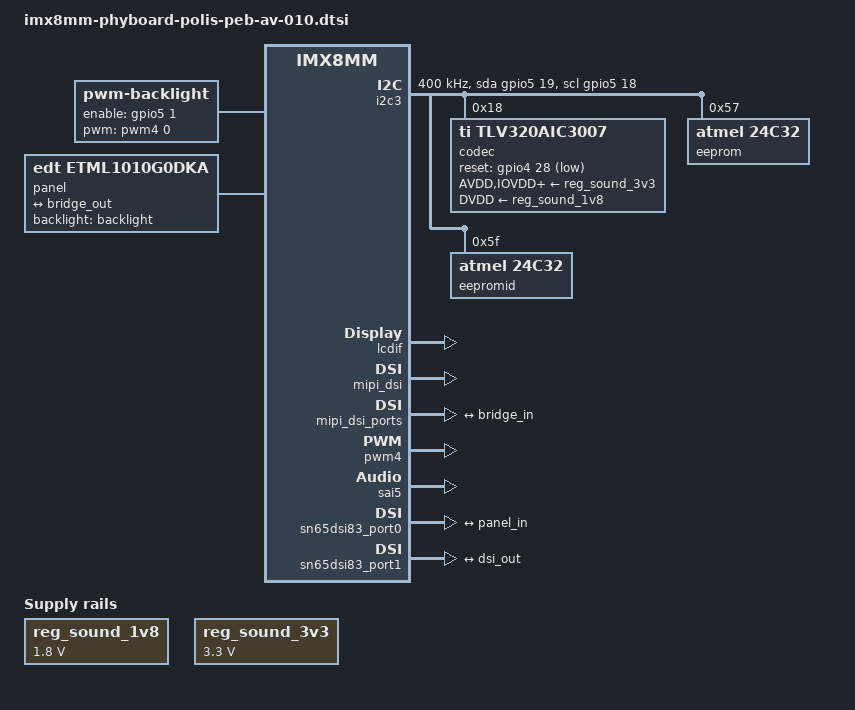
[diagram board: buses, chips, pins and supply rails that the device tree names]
// SPDX-License-Identifier: GPL-2.0
/*
 * Copyright (C) 2019 PHYTEC Messtechnik GmbH
 * Author: Teresa Remmet <t.remmet@phytec.de>
 */

/ {
	backlight: backlight {
		compatible = "pwm-backlight";
		pinctrl-names = "default";
		pinctrl-0 = <&pinctrl_lcd>;
		default-brightness-level = <6>;
		pwms = <&pwm4 0 50000>;
		enable-gpios = <&gpio5 1 GPIO_ACTIVE_HIGH>;
		brightness-levels= <0 4 8 16 32 64 128 255>;
	};

	panel {
		compatible = "edt,etml1010g0dka";
		backlight = <&backlight>;

		port {
			panel_in: endpoint {
				remote-endpoint = <&bridge_out>;
			};
		};
	};

	reg_sound_1v8: regulator-1v8 {
		compatible = "regulator-fixed";
		regulator-name = "VCC-1V8-Audio";
		regulator-min-microvolt = <1800000>;
		regulator-max-microvolt = <1800000>;
	};

	reg_sound_3v3: regulator-3v3 {
		compatible = "regulator-fixed";
		regulator-name = "VCC-3V3-Audio";
		regulator-min-microvolt = <3300000>;
		regulator-max-microvolt = <3300000>;
	};

	sound-peb-av-10 {
		compatible = "simple-audio-card";
		simple-audio-card,name = "snd-peb-av-10";
		simple-audio-card,format = "i2s";
		simple-audio-card,bitclock-master = <&dailink_master>;
		simple-audio-card,frame-master = <&dailink_master>;
		simple-audio-card,mclk-fs = <32>;
		simple-audio-card,widgets =
			"Line", "Line In",
			"Speaker", "Speaker",
			"Microphone", "Microphone Jack",
			"Headphone", "Headphone Jack";
		simple-audio-card,routing =
			"Speaker", "SPOP",
			"Speaker", "SPOM",
			"Headphone Jack", "HPLOUT",
			"Headphone Jack", "HPROUT",
			"LINE1L", "Line In",
			"LINE1R", "Line In",
			"MIC3R", "Microphone Jack",
			"Microphone Jack", "Mic Bias";

		dailink_master: simple-audio-card,cpu {
			sound-dai = <&sai5>;
		};

		simple-audio-card,codec {
			sound-dai = <&codec>;
		};
	};
};

&i2c3 {
	clock-frequency = <400000>;
	pinctrl-names = "default", "gpio";
	pinctrl-0 = <&pinctrl_i2c3>;
	pinctrl-1 = <&pinctrl_i2c3_gpio>;
	sda-gpios = <&gpio5 19 (GPIO_ACTIVE_HIGH | GPIO_OPEN_DRAIN)>;
	scl-gpios = <&gpio5 18 (GPIO_ACTIVE_HIGH | GPIO_OPEN_DRAIN)>;
	status = "okay";

	codec: codec@18 {
		compatible = "ti,tlv320aic3007";
		pinctrl-names = "default";
		pinctrl-0 = <&pinctrl_tlv320>;
		#sound-dai-cells = <0>;
		reg = <0x18>;
		reset-gpios = <&gpio4 28 GPIO_ACTIVE_LOW>;
		ai3x-gpio-func = <0xd 0x0>;
		ai3x-micbias-vg = <2>;
		AVDD-supply = <&reg_sound_3v3>;
		IOVDD-supply = <&reg_sound_3v3>;
		DRVDD-supply = <&reg_sound_3v3>;
		DVDD-supply = <&reg_sound_1v8>;
	};

	eeprom@57 {
		compatible = "atmel,24c32";
		reg = <0x57>;
	};

	eepromid@5f {
		compatible = "atmel,24c32";
		reg = <0x5f>;
		size = <32>;
	};
};

&lcdif {
	max-res = <1920>, <1080>;
	status = "okay";
};

&mipi_dsi {
	sync-pol = <1>;
	pwr-delay = <10>;
	status = "okay";
};

&mipi_dsi_ports {
	port@1 {
		reg = <1>;
		dsi_out: endpoint {
			remote-endpoint = <&bridge_in>;
			attach-bridge;
		};
	};
};

&pwm4 {
	pinctrl-names = "default";
	pinctrl-0 = <&pinctrl_pwm4>;
	status = "okay";
};

&sai5 {
	assigned-clocks = <&clk IMX8MM_CLK_SAI5>;
	assigned-clock-parents = <&clk IMX8MM_AUDIO_PLL1_OUT>;
	assigned-clock-rates = <49152000>;
	clocks = <&clk IMX8MM_CLK_SAI5_IPG>, <&clk IMX8MM_CLK_DUMMY>,
		<&clk IMX8MM_CLK_SAI5_ROOT>, <&clk IMX8MM_CLK_DUMMY>,
		<&clk IMX8MM_CLK_DUMMY>, <&clk IMX8MM_AUDIO_PLL1_OUT>,
		<&clk IMX8MM_AUDIO_PLL2_OUT>;
	clock-names = "bus", "mclk0", "mclk1", "mclk2", "mclk3", "pll8k",
			"pll11k";
	pinctrl-names = "default";
	pinctrl-0 = <&pinctrl_sai5>;
	#sound-dai-cells = <0>;
	status = "okay";

};

&sn65dsi83_port0 {
	bridge_out: endpoint {
		remote-endpoint = <&panel_in>;
	};
};

&sn65dsi83_port1 {
	bridge_in: endpoint {
		remote-endpoint = <&dsi_out>;
	};
};

&iomuxc {

	pinctrl_i2c3: i2c3grp {
		fsl,pins = <
			MX8MM_IOMUXC_I2C3_SCL_I2C3_SCL          0x400001c3
			MX8MM_IOMUXC_I2C3_SDA_I2C3_SDA          0x400001c3
		>;
	};

	pinctrl_i2c3_gpio: i2c3gpiogrp {
		fsl,pins = <
			MX8MM_IOMUXC_I2C3_SCL_GPIO5_IO18        0x1e3
			MX8MM_IOMUXC_I2C3_SDA_GPIO5_IO19        0x1e3
		>;
	};
	pinctrl_lcd: lcd0grp {
		fsl,pins = <
			MX8MM_IOMUXC_SAI3_TXD_GPIO5_IO1		0x12
		>;
	};

	pinctrl_pwm4: pwm4grp {
		fsl,pins = <
			MX8MM_IOMUXC_SAI3_MCLK_PWM4_OUT		0x12
		>;
	};

	pinctrl_sai5: sai5grp {
		fsl,pins = <
			MX8MM_IOMUXC_SAI5_MCLK_SAI5_MCLK        0xd6
			MX8MM_IOMUXC_SAI5_RXD0_SAI5_RX_DATA0    0xd6
			MX8MM_IOMUXC_SAI5_RXD1_SAI5_TX_SYNC     0xd6
			MX8MM_IOMUXC_SAI5_RXD2_SAI5_TX_BCLK     0xd6
			MX8MM_IOMUXC_SAI5_RXD3_SAI5_TX_DATA0    0xd6
		>;
	};

	pinctrl_tlv320: tlv320grp {
		fsl,pins = <
			MX8MM_IOMUXC_SAI3_RXFS_GPIO4_IO28       0x16
			MX8MM_IOMUXC_SAI5_RXC_GPIO3_IO20        0x16
		>;
	};
};
